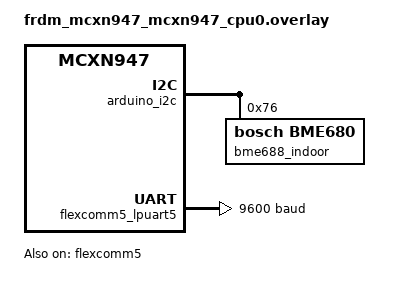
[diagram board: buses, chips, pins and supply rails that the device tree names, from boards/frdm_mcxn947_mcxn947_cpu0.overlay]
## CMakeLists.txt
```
# SPDX-License-Identifier: Apache-2.0

cmake_minimum_required(VERSION 3.20.0)

find_package(Zephyr REQUIRED HINTS $ENV{ZEPHYR_BASE})
project(gateway VERSION 0.1.0)

target_sources(app PRIVATE src/main.c)

# Expose the shared include/ directory so weather_messages.h is reachable.
target_include_directories(app PRIVATE ${CMAKE_SOURCE_DIR}/../../include)
```

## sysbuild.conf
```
# apps/gateway/sysbuild.conf
# Enable MCUboot bootloader. Key file and build details are in sysbuild/mcuboot.conf.
# Sign type is set here; key path is passed at build time via
#   -DSB_CONFIG_BOOT_SIGNATURE_KEY_FILE=<absolute-path>
SB_CONFIG_BOOTLOADER_MCUBOOT=y
SB_CONFIG_BOOT_SIGNATURE_TYPE_ED25519=y
SB_CONFIG_MCUBOOT_MODE_SWAP_USING_MOVE=y
```

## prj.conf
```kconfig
# Gateway application configuration
# All features are enabled here; logic lives in libraries.

CONFIG_ZBUS=y
CONFIG_ZBUS_CHANNEL_NAME=y
CONFIG_ZBUS_OBSERVER_NAME=y
CONFIG_ZBUS_RUNTIME_OBSERVERS=y

CONFIG_SHELL=y
CONFIG_SHELL_BACKEND_SERIAL=y

CONFIG_LOG=y
CONFIG_LOG_DEFAULT_LEVEL=3

CONFIG_SENSOR_EVENT=y
CONFIG_SENSOR_EVENT_LOG=y
CONFIG_SENSOR_TRIGGER=y
CONFIG_SENSOR_REGISTRY=y
CONFIG_SENSOR_REGISTRY_USER_META=y
CONFIG_SETTINGS=y
CONFIG_SETTINGS_RUNTIME=y
CONFIG_SENSOR_REGISTRY_SETTINGS=y
CONFIG_CONFIG_CMD=y
CONFIG_FAKE_SENSORS=y
CONFIG_FAKE_SENSORS_SHELL=y
CONFIG_FAKE_SENSORS_AUTO_PUBLISH_MS=5000

# Networking via Native Offloaded Sockets (uses host network stack, no TAP)
# Pattern taken from samples/net/sockets/sntp_client/overlay-nsos.conf
CONFIG_NETWORKING=y
CONFIG_NET_IPV4=y
CONFIG_NET_IPV6=y
CONFIG_NET_UDP=y
CONFIG_NET_SOCKETS=y
CONFIG_ETH_NATIVE_TAP=n
CONFIG_NET_DRIVERS=y
CONFIG_NET_SOCKETS_OFFLOAD=y
CONFIG_NET_NATIVE_OFFLOADED_SOCKETS=y
CONFIG_HEAP_MEM_POOL_SIZE=32768
CONFIG_NET_IPV6_DAD=n

# Network debug shell commands
CONFIG_NET_SHELL=y
CONFIG_NET_STATISTICS=y
CONFIG_NET_STATISTICS_USER_API=y
CONFIG_NET_IPV4_AUTO=n
CONFIG_DNS_RESOLVER=y
CONFIG_DNS_RESOLVER_ADDITIONAL_BUF_CTR=2

# Wall-clock time: Zephyr's net_config SNTP client syncs once at boot, then
# resyncs asynchronously on the socket service. The dashboard changes the
# server at runtime through net_config_sntp_set_server().
CONFIG_SNTP=y
CONFIG_NET_CONFIG_SETTINGS=y
CONFIG_NET_CONFIG_CLOCK_SNTP_INIT=y
CONFIG_NET_CONFIG_SNTP_INIT_SERVER="pool.ntp.org"
CONFIG_NET_CONFIG_SNTP_INIT_SERVER_RUNTIME=y
CONFIG_NET_CONFIG_SNTP_INIT_RESYNC=y
# Retry a failed sync after a minute, not after the full resync interval.
CONFIG_NET_CONFIG_SNTP_INIT_RESYNC_ON_FAILURE_INTERVAL=60
CONFIG_NET_SOCKETS_SERVICE=y
# The async SNTP reply (clock set + logging) runs on the socket-service thread.
CONFIG_NET_SOCKETS_SERVICE_STACK_SIZE=2048

# Clock display (HH:MM UTC every minute)
CONFIG_CLOCK_DISPLAY=y

# LVGL graphical display (320x240 SDL window)
CONFIG_LVGL_DISPLAY=y
CONFIG_LVGL=y
CONFIG_DISPLAY=y
CONFIG_INPUT=y
CONFIG_LV_Z_RUN_LVGL_ON_WORKQUEUE=n
CONFIG_LV_Z_LVGL_MUTEX=y
CONFIG_LV_FONT_MONTSERRAT_48=y
CONFIG_LV_Z_MEM_POOL_SIZE=65536

# Location registry (auto-selected by HTTP_DASHBOARD, but also enable shell + persistence)
CONFIG_LOCATION_REGISTRY_SETTINGS=y
CONFIG_LOCATION_REGISTRY_SHELL=y

# LoRa radio subsystem
CONFIG_LORA_RADIO=y
CONFIG_LORA_RADIO_DEV_NAME="lora0"
CONFIG_LORA_RADIO_DEFAULT_SF=10
CONFIG_LORA_RADIO_DEFAULT_BW=125

# HTTP dashboard
# Remote sensor transport abstraction + fake stub for native_sim testing
CONFIG_REMOTE_SENSOR=y
CONFIG_REMOTE_SENSOR_SHELL=y
CONFIG_FAKE_REMOTE_SENSOR=y

# MQTT publisher
CONFIG_MQTT_LIB=y
CONFIG_MQTT_PUBLISHER=y
CONFIG_MQTT_PUBLISHER_GATEWAY_NAME="weather"
CONFIG_MQTT_PUBLISHER_BROKER_HOST="localhost"
CONFIG_MQTT_PUBLISHER_BROKER_PORT=1883
CONFIG_MQTT_PUBLISHER_SHELL=y

CONFIG_HTTP_DASHBOARD=y
CONFIG_HTTP_DASHBOARD_PORT=8080
CONFIG_NET_TCP=y
CONFIG_HTTP_SERVER=y
CONFIG_HTTP_PARSER=y
CONFIG_HTTP_PARSER_URL=y
CONFIG_HTTP_SERVER_NUM_SERVICES=1
CONFIG_HTTP_SERVER_MAX_CLIENTS=3
CONFIG_HTTP_SERVER_CLIENT_BUFFER_SIZE=512
CONFIG_HTTP_SERVER_MAX_URL_LENGTH=128
# HTTP dashboard session + API token auth
CONFIG_HTTP_DASHBOARD_AUTH=y
CONFIG_HTTP_DASHBOARD_AUTH_SHELL=y
CONFIG_HTTP_DASHBOARD_AUTH_DEFAULT_USER="admin"
CONFIG_HTTP_DASHBOARD_AUTH_DEFAULT_PASS="admin"
CONFIG_HTTP_DASHBOARD_SESSION_COUNT=4
# HTTP_SERVER_CAPTURE_HEADERS auto-selected by HTTP_DASHBOARD_AUTH.
# Capture both Cookie (session) and Authorization (API token) headers → count=2.
# Cookie: "session=<32hex>" = 41 chars; Authorization: "Bearer <32hex>" = 40 chars.
# 128 B gives headroom for multi-cookie browsers.
CONFIG_HTTP_SERVER_CAPTURE_HEADER_COUNT=2
CONFIG_HTTP_SERVER_CAPTURE_HEADER_BUFFER_SIZE=128
# MAX_HEADER_LEN: parse buffer for header field name+value; 64 B is sufficient.
CONFIG_HTTP_SERVER_MAX_HEADER_LEN=64
```

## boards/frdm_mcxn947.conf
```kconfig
# FRDM-MCXN947 gateway configuration
# Applied after prj.conf — overrides native_sim-specific settings.

# ---------------------------------------------------------------
# Networking: real Ethernet (replaces native offloaded sockets)
# ---------------------------------------------------------------
CONFIG_NET_NATIVE_OFFLOADED_SOCKETS=n
CONFIG_NET_NATIVE_OFFLOAD=n
CONFIG_NET_SOCKETS_OFFLOAD=n
CONFIG_NET_IPV6=n

CONFIG_NET_L2_ETHERNET=y
CONFIG_ETH_NXP_ENET=y

CONFIG_NET_IPV4=y
CONFIG_NET_DHCPV4=y
CONFIG_NET_CONFIG_AUTO_INIT=y
CONFIG_NET_CONFIG_NEED_IPV4=y

# Network stack buffers
CONFIG_NET_MAX_CONTEXTS=8
CONFIG_NET_UDP=y
CONFIG_NET_TCP=y

# DNS resolver
CONFIG_DNS_RESOLVER=y
CONFIG_DNS_RESOLVER_ADDITIONAL_BUF_CTR=2

# Network shell + stats
CONFIG_NET_SHELL=y
CONFIG_NET_STATISTICS=y
CONFIG_NET_STATISTICS_USER_API=y

# ---------------------------------------------------------------
# Disable display stack (no hardware display on this board)
# ---------------------------------------------------------------
CONFIG_LVGL_DISPLAY=n
CONFIG_LVGL=n
CONFIG_DISPLAY=n
CONFIG_INPUT=n

# ---------------------------------------------------------------
# Memory tuning (512 KB RAM, Cortex-M33)
# ---------------------------------------------------------------
CONFIG_HEAP_MEM_POOL_SIZE=16384
CONFIG_MAIN_STACK_SIZE=2048
CONFIG_SYSTEM_WORKQUEUE_STACK_SIZE=2048
```

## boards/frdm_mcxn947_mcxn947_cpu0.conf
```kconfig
# FRDM-MCXN947 gateway configuration
# Applied after prj.conf — overrides native_sim-specific settings.

# ---------------------------------------------------------------
# Networking: real Ethernet (replaces native offloaded sockets)
# ---------------------------------------------------------------
CONFIG_NET_NATIVE_OFFLOADED_SOCKETS=n
CONFIG_NET_SOCKETS_OFFLOAD=n
CONFIG_NET_IPV6=n

CONFIG_NET_L2_ETHERNET=y
# Ethernet MAC driver (ENET-QoS) is selected by devicetree

CONFIG_NET_CONFIG_SETTINGS=y
CONFIG_NET_IPV4=y
CONFIG_NET_DHCPV4=y
CONFIG_NET_CONFIG_AUTO_INIT=y
CONFIG_NET_CONFIG_NEED_IPV4=y

# Network stack buffers
# 10 contexts: HTTP (1 listen + 3 clients + 1 internal) + MQTT (1) + SNTP (1) + DNS (1) + 2 margin
CONFIG_NET_MAX_CONTEXTS=10
CONFIG_NET_UDP=y
CONFIG_NET_TCP=y

# DNS resolver
CONFIG_DNS_RESOLVER=y
CONFIG_DNS_RESOLVER_ADDITIONAL_BUF_CTR=2

# Network shell + stats
CONFIG_NET_SHELL=y
CONFIG_NET_STATISTICS=y
CONFIG_NET_STATISTICS_USER_API=y

# ---------------------------------------------------------------
# Disable display stack (no hardware display on this board)
# ---------------------------------------------------------------
CONFIG_LVGL_DISPLAY=n
CONFIG_LVGL=n
CONFIG_DISPLAY=n
CONFIG_INPUT=n

# ---------------------------------------------------------------
# Memory tuning (512 KB RAM, Cortex-M33)
# ---------------------------------------------------------------
# NOTE: the project no-heap rule (no k_malloc/k_free in application code) still
# applies.  This pool is required exclusively by MCUmgr's SMP transport
# internals.  Do NOT use it from project code.
CONFIG_HEAP_MEM_POOL_SIZE=16384
CONFIG_MAIN_STACK_SIZE=2048
# Increased from 2048: both fota_reboot_work (sys_reboot) and fota_confirm's
# confirm_work_fn (boot_write_img_confirmed → flash_area_write) run here.
CONFIG_SYSTEM_WORKQUEUE_STACK_SIZE=3072

# ---------------------------------------------------------------
# MCUmgr — SMP protocol over UART for firmware update
# ---------------------------------------------------------------
CONFIG_BOOTLOADER_MCUBOOT=y
CONFIG_MCUMGR=y
# WARNING: MCUmgr UART transport, the Zephyr shell, and the console all share
# flexcomm4_lpuart4.  MCUmgr installs an ISR-level byte sniffer that detects
# SMP frame delimiters; interleaved shell output can corrupt SMP frames and
# vice versa.  See backlog item FOTA-REMOVE-UART-MCUMGR for the plan to move
# MCUmgr to a dedicated UART.
CONFIG_MCUMGR_TRANSPORT_UART=y
CONFIG_MCUMGR_GRP_IMG=y
CONFIG_MCUMGR_GRP_OS=y
CONFIG_IMG_MANAGER=y
CONFIG_STREAM_FLASH=y
CONFIG_FLASH=y
CONFIG_FLASH_MAP=y
CONFIG_IMG_ERASE_PROGRESSIVELY=y

# MCUmgr + HTTP server share the epoll fd — increase poll slots
CONFIG_ZVFS_POLL_MAX=12

# MCUmgr SMP requires ZCBOR and CRC
CONFIG_ZCBOR=y
CONFIG_CRC=y

# Increase HTTP server thread stack to accommodate the deep call chain of
# flash_img_buffered_write → stream_flash_buffered_write → flash_area_write/erase.
# The default (3072) is borderline on Cortex-M33 when a FOTA chunk triggers a
# sector erase inline.
CONFIG_HTTP_SERVER_STACK_SIZE=4096

# ---------------------------------------------------------------
# FOTA HTTP endpoints + auto-confirm
# ---------------------------------------------------------------
CONFIG_HTTP_DASHBOARD_FOTA=y
CONFIG_FOTA_CONFIRM=y
CONFIG_FOTA_CONFIRM_DELAY_S=5
CONFIG_FOTA_RELAY=n

# ---------------------------------------------------------------
# LoRa: replace full radio library with UART bridge to LoRa co-MCU
# ---------------------------------------------------------------
# The lora_radio library (provisioning, RPC, FOTA-over-LoRa) runs on
# native_sim only.  On hardware a dedicated co-MCU manages the LoRa
# radio (SX1262) and forwards decoded env_sensor_data frames over UART.
CONFIG_LORA_RADIO=n
CONFIG_FAKE_REMOTE_SENSOR=n
CONFIG_UART_LORA_BRIDGE=y
# Set to the LPUART instance wired to the LoRa co-MCU.
# flexcomm4_lpuart4 is reserved for shell/MCUmgr; use a different port.
CONFIG_UART_LORA_BRIDGE_DEV_NAME="lpuart5"

# ---------------------------------------------------------------
# Sensor drivers — real hardware sensors
# ---------------------------------------------------------------
CONFIG_SENSOR=y
CONFIG_BME680=y
CONFIG_FAKE_SENSORS=n
```

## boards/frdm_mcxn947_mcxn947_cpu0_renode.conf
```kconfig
# Renode-specific Kconfig overrides for FRDM-MCXN947.
# Applied after prj.conf and frdm_mcxn947_mcxn947_cpu0.conf.
#
# The Renode .repl models the external W25Q64 flash as bare Memory.MappedMemory
# which cannot respond to SPI IP commands (JEDEC ID read, SFDP, erase/program).
# The flash_mcux_flexspi_nor driver hangs in FLEXSPI_TransferBlocking() waiting
# for IPCMDDONE that never arrives.
#
# Disabling the external FlexSPI NOR driver allows the gateway to boot in
# Renode while keeping internal flash (FTFE) functional for MCUboot/FOTA.
# Settings use SETTINGS_NONE (RAM-only), so no external storage is needed.

CONFIG_FLASH_MCUX_FLEXSPI_NOR=n

# BME688 DT node is disabled in the Renode overlay; explicit Kconfig override
# avoids compiling the BME680 driver when the DT node is unavailable.
CONFIG_BME680=n

# Flexcomm5/LPUART5 is disabled in the Renode overlay (no UART peripheral model);
# without this, uart_lora_bridge logs an error at boot and wastes a thread stack.
CONFIG_UART_LORA_BRIDGE=n

# Re-enable fake sensors for virtual testing. The board-level
# frdm_mcxn947_mcxn947_cpu0.conf overrides prj.conf with CONFIG_FAKE_SENSORS=n
# (for real hardware); this restores them for the Renode simulation.
CONFIG_FAKE_SENSORS=y
CONFIG_FAKE_SENSORS_SHELL=y
```

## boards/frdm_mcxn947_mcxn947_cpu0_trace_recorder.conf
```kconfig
CONFIG_TRACING=y
CONFIG_TRACING_USER=y
CONFIG_THREAD_CUSTOM_DATA=y
CONFIG_TRACE_RECORDER=y
CONFIG_TRACE_RECORDER_BUFFER_SIZE=4096
CONFIG_TRACE_RECORDER_SHELL=y
```

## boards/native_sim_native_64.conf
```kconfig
CONFIG_LV_COLOR_DEPTH_32=y
CONFIG_LV_Z_MEM_POOL_SIZE=81920

# FIFO transport: receives sensor-node protobuf readings on /tmp/ws-node-0 (native_sim only)
CONFIG_PIPE_TRANSPORT=y

# The HTTP server polls 1 eventfd + listen socket + HTTP_SERVER_MAX_CLIENTS. With the default
# of 3, parallel browser connections overflowed zvfs_poll() and crashed NSOS (see
# zephyr/patches.yml).
CONFIG_ZVFS_POLL_MAX=12

# Resyncs resolve names with Zephyr's own DNS resolver, which has no server on native_sim
# (giving it one froze the simulator). Use an IP (time.google.com) so they need no lookup.
CONFIG_NET_CONFIG_SNTP_INIT_SERVER="216.239.35.0"
```

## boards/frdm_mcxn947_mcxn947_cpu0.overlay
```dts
/*
 * SPDX-License-Identifier: Apache-2.0
 *
 * Gateway DT overlay for frdm_mcxn947 — real hardware.
 *
 * Sensors:
 *   - BME688 indoor environmental sensor on Arduino I2C (T/P/H/gas)
 *
 * LoRa:
 *   - Flexcomm5 LPUART5 wired to Wio-E5 Mini co-processor
 *
 * Sensor UID ranges: see docs/architecture/system-overview.md
 * (local hardware 0x0100–0x0FFF, remote nodes derived by remote_sensor).
 *
 * No display — LVGL is disabled on this target.
 */

/* BME688 indoor environmental sensor on Arduino I2C (D14=SDA, D15=SCL) */
&arduino_i2c {
	bme688_indoor: bme688@76 {
		compatible = "bosch,bme680";
		reg = <0x76>;
	};
};

/* Flexcomm5 LPUART5 — LoRa co-processor (Wio-E5 Mini)
 * TX: PT1_4 (FC5_P0), RX: PT1_5 (FC5_P1) */
&pinctrl {
	pinmux_flexcomm5_lpuart: pinmux_flexcomm5_lpuart {
		group0 {
			pinmux = <FC5_P0_PIO1_4>,
				 <FC5_P1_PIO1_5>;
			slew-rate = "fast";
			drive-strength = "low";
			input-enable;
			bias-pull-up;
		};
	};
};

&flexcomm5 {
	status = "okay";
};

&flexcomm5_lpuart5 {
	current-speed = <9600>;
	pinctrl-0 = <&pinmux_flexcomm5_lpuart>;
	pinctrl-names = "default";
	status = "okay";
};
```

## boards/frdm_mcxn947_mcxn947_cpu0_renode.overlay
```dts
/*
 * Renode-specific DTS overlay for FRDM-MCXN947.
 *
 * - Disables the real BME688 node because the Renode .repl has no
 *   I2C peripheral model for Flexcomm2 at 0x50094800.
 * - Adds fake sensor nodes for Renode virtual testing.
 * - Disables the external W25Q64 SPI NOR flash because the Renode
 *   .repl models it as bare Memory.MappedMemory.
 * - Disables the Flexcomm5 LPUART5 node because the Renode .repl has no
 *   UART peripheral model for Flexcomm5 at 0x500b5000.
 */

/* Disable real BME688 — Renode .repl has no I2C peripheral model for Flexcomm2 */
&bme688_indoor {
	status = "disabled";
};

/* Disable Flexcomm5 — Renode .repl has no UART peripheral model for Flexcomm5 */
&flexcomm5 {
	status = "disabled";
};

&flexcomm5_lpuart5 {
	status = "disabled";
};

/* Disable external FlexSPI NOR flash — Renode models it as bare Memory.MappedMemory */
&ext_flash_ctrl {
	status = "disabled";
};

&w25q64jvssiq {
	status = "disabled";
};

/* Fake sensors for Renode virtual testing */
/ {
	fake_temp_indoor: fake-temp-indoor {
		compatible = "fake,temperature";
		initial-value-mdegc = <21000>;
		status = "okay";
	};

	fake_hum_indoor: fake-hum-indoor {
		compatible = "fake,humidity";
		initial-value-mpct = <50000>;
		status = "okay";
	};

	fake_co2_indoor: fake-co2-indoor {
		compatible = "fake,co2";
		initial-value-mppm = <800000>;
		status = "okay";
	};

	fake_voc_indoor: fake-voc-indoor {
		compatible = "fake,voc";
		initial-value-miaq = <25000>;
		status = "okay";
	};
};
```

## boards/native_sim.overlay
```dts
/*
 * SPDX-License-Identifier: Apache-2.0
 *
 * Gateway DT overlay for native_sim/native/64.
 *
 * Defines six fake sensors:
 *   - Two indoor sensors (living room): temperature + humidity
 *   - Two outdoor sensors: temperature + humidity
 *   - One CO2 sensor
 *   - One VOC sensor
 *
 * Sensor UIDs are assigned at build time via Kconfig:
 *   CONFIG_FAKE_TEMPERATURE_UID_BASE (default 0x0001)
 *   CONFIG_FAKE_HUMIDITY_UID_BASE (default 0x0003)
 *   CONFIG_FAKE_CO2_UID_BASE (default 0x0005)
 *   CONFIG_FAKE_VOC_UID_BASE (default 0x0006)
 *
 * Also configures the SDL display controller for the LVGL graphical window.
 */

/ {
	chosen {
		zephyr,display = &sdl_dc;
	};

	fake_temp_indoor: fake-temp-indoor {
		compatible = "fake,temperature";
		initial-value-mdegc = <21000>;
		status = "okay";
	};

	fake_hum_indoor: fake-hum-indoor {
		compatible = "fake,humidity";
		initial-value-mpct = <50000>;
		status = "okay";
	};

	fake_temp_outdoor: fake-temp-outdoor {
		compatible = "fake,temperature";
		initial-value-mdegc = <4000>;
		status = "okay";
	};

	fake_hum_outdoor: fake-hum-outdoor {
		compatible = "fake,humidity";
		initial-value-mpct = <30000>;
		status = "okay";
	};

	fake_co2_indoor: fake-co2-indoor {
		compatible = "fake,co2";
		initial-value-mppm = <800000>;
		status = "okay";
	};

	fake_voc_indoor: fake-voc-indoor {
		compatible = "fake,voc";
		initial-value-miaq = <25000>;
		status = "okay";
	};

	lora0: fake-lora-radio {
		compatible = "fake,lora-radio";
		label = "lora0";
		status = "okay";
	};
};

&sdl_dc {
	height = <240>;
	width  = <320>;
};
```

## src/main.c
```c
/* SPDX-License-Identifier: Apache-2.0 */
/**
 * @file main.c (gateway)
 * @brief Gateway application entry point.
 *
 * Per ADR-008 RULE 4: main.c registers the log module and sleeps forever.
 * All application logic is initialised via SYS_INIT callbacks in library
 * modules, activated by the Kconfig options in prj.conf.
 *
 * Sensor event logging is provided by lib/sensor_event_log/
 * (CONFIG_SENSOR_EVENT_LOG=y in prj.conf).
 */

#include <zephyr/kernel.h>
#include <zephyr/logging/log.h>

#if CONFIG_LVGL_DISPLAY
#	include <lvgl_display/lvgl_display.h>
#endif

LOG_MODULE_REGISTER(gateway, LOG_LEVEL_INF);

int main(void)
{
	LOG_INF("weather-station gateway v0.1.0");
#if CONFIG_LVGL_DISPLAY
	lvgl_display_run(); /* never returns; SDL must run on main thread */
#else
	k_sleep(K_FOREVER);
#endif
	return 0;
}
```
